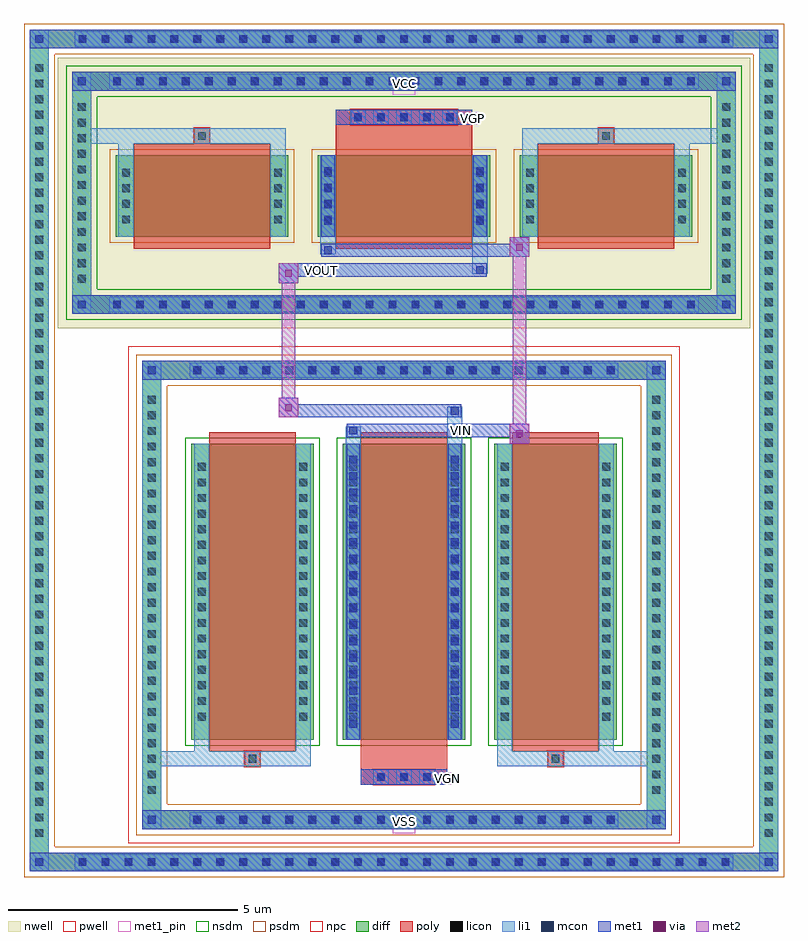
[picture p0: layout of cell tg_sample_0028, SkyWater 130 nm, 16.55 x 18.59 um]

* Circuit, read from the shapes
.subckt tg_sample_0028 VCC VGN VGP VIN VOUT VSS
XM1 VSS VSS VSS VSUBS sky130_fd_pr__nfet_01v8 w=6.44 l=1.88 m=2
XM2 VOUT VGN VIN VSUBS sky130_fd_pr__nfet_01v8 w=6.44 l=1.88
XM3 VCC VCC VCC n1 sky130_fd_pr__pfet_01v8 w=1.78 l=2.98 m=2
XM4 VOUT VGP VIN n1 sky130_fd_pr__pfet_01v8 w=1.78 l=2.98
.ends

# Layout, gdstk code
import gdstk
lib = gdstk.Library(unit=1e-6, precision=5e-09)
def R(c, l, rs):  # rectangles x0, y0, x1, y1
    for r in rs: c.add(gdstk.rectangle(r[:2], r[2:], *l))
def A(c, l, x, y, w, h, nx, ny, dx, dy):  # array of equal rectangles
    R(c, l, [(x+i*dx, y+j*dy, x+i*dx+w, y+j*dy+h) for i in range(nx) for j in range(ny)])
def P(c, l, *ps):  # polygons
    for p in ps: c.add(gdstk.Polygon(p, *l))
nwell = (64, 20)
pwell = (64, 44)
diff = (65, 20)
poly = (66, 20)
licon = (66, 44)
li1 = (67, 20)
mcon = (67, 44)
met1_pin = (68, 16)
met1 = (68, 20)
via = (68, 44)
met2 = (69, 20)
nsdm = (93, 44)
psdm = (94, 20)
npc = (95, 20)

tg_sample_0028 = lib.new_cell('tg_sample_0028')
R(tg_sample_0028, nwell, [(-7.535,5.81,7.535,11.7)])
R(tg_sample_0028, pwell, [(-6.01,-5.41,6.01,5.41)])
A(tg_sample_0028, diff, -7.205, -6.02, 0.41, 0.41, 29, 2, 0.5, 17.92)
A(tg_sample_0028, diff, -8.145, -5.39, 0.41, 0.41, 1, 50, 0, 0.34)
A(tg_sample_0028, diff, 7.735, -5.39, 0.41, 0.41, 1, 50, 0, 0.34)
A(tg_sample_0028, diff, -4.705, -5.1, 0.41, 0.41, 19, 2, 0.5, 9.79)
A(tg_sample_0028, diff, -5.7, -4.455, 0.41, 0.41, 1, 26, 0, 0.34)
A(tg_sample_0028, diff, 5.29, -4.455, 0.41, 0.41, 1, 26, 0, 0.34)
A(tg_sample_0028, diff, -4.63, -3.15, 2.66, 6.44, 3, 1, 3.3, 0)
A(tg_sample_0028, diff, -6.455, 6.12, 0.41, 0.41, 26, 2, 0.5, 4.86)
A(tg_sample_0028, diff, -7.225, 6.68, 0.41, 0.41, 1, 12, 0, 0.34)
A(tg_sample_0028, diff, 6.815, 6.68, 0.41, 0.41, 1, 12, 0, 0.34)
A(tg_sample_0028, diff, -6.28, 7.795, 3.76, 1.78, 3, 1, 4.4, 0)
R(tg_sample_0028, diff, [(-7.205,-6.02,7.205,-5.61), (-8.145,-5.39,-7.735,11.68), (7.735,-5.39,8.145,11.68), (-4.705,-5.1,4.705,-4.69), (-5.7,-4.455,-5.29,4.455), (5.29,-4.455,5.7,4.455), (-4.705,4.69,4.705,5.1), (-6.455,6.12,6.455,6.53), (-7.225,6.68,-6.815,10.83), (6.815,6.68,7.225,10.83), (-6.455,10.98,6.455,11.39), (-7.205,11.9,7.205,12.31)])
P(tg_sample_0028, diff, [(5.7,5.1),(-5.7,5.1),(-5.7,-4.69),(-5.29,-4.69),(-5.29,4.69),(5.29,4.69),(5.29,-4.69),(-5.29,-4.69),(-5.7,-4.69),(-5.7,-5.1),(5.7,-5.1)],
  [(8.145,12.31),(-8.145,12.31),(-8.145,-5.61),(-7.735,-5.61),(-7.735,11.9),(7.735,11.9),(7.735,-5.61),(-7.735,-5.61),(-8.145,-5.61),(-8.145,-6.02),(8.145,-6.02)],
  [(7.225,6.12),(-7.225,6.12),(-7.225,10.98),(-6.815,10.98),(-6.815,6.53),(6.815,6.53),(6.815,10.98),(-6.815,10.98),(-7.225,10.98),(-7.225,11.39),(7.225,11.39)])
A(tg_sample_0028, poly, -0.665, -4.13, 0.33, 0.33, 3, 1, 0.5, 0)
A(tg_sample_0028, poly, -4.24, -3.4, 1.88, 6.94, 3, 1, 3.3, 0)
A(tg_sample_0028, poly, -5.89, 7.54, 2.98, 2.29, 3, 1, 4.4, 0)
A(tg_sample_0028, poly, -1.165, 10.235, 0.33, 0.33, 5, 1, 0.5, 0)
R(tg_sample_0028, poly, [(-0.94,-4.13,0.94,-3.8), (-0.94,-3.8,0.94,-3.4), (-3.465,-3.73,-3.135,-3.4), (-3.465,-3.73,-3.135,-3.4), (3.135,-3.73,3.465,-3.4), (3.135,-3.73,3.465,-3.4), (-4.565,9.83,-4.235,10.16), (-4.565,9.83,-4.235,10.16), (-1.49,9.83,1.49,10.235), (4.235,9.83,4.565,10.16), (4.235,9.83,4.565,10.16), (-1.49,10.235,1.49,10.565)])
A(tg_sample_0028, licon, -7.085, -5.9, 0.17, 0.17, 29, 2, 0.5, 17.92)
A(tg_sample_0028, licon, -8.025, -5.27, 0.17, 0.17, 1, 50, 0, 0.34)
A(tg_sample_0028, licon, 7.855, -5.27, 0.17, 0.17, 1, 50, 0, 0.34)
A(tg_sample_0028, licon, -4.585, -4.98, 0.17, 0.17, 19, 2, 0.5, 9.79)
A(tg_sample_0028, licon, -5.58, -4.335, 0.17, 0.17, 1, 26, 0, 0.34)
A(tg_sample_0028, licon, 5.41, -4.335, 0.17, 0.17, 1, 26, 0, 0.34)
A(tg_sample_0028, licon, -0.585, -4.05, 0.17, 0.17, 3, 1, 0.5, 0)
A(tg_sample_0028, licon, -4.49, -2.735, 0.17, 0.17, 1, 17, 0, 0.34)
A(tg_sample_0028, licon, -2.28, -2.735, 0.17, 0.17, 1, 17, 0, 0.34)
A(tg_sample_0028, licon, -1.19, -2.735, 0.17, 0.17, 1, 17, 0, 0.34)
A(tg_sample_0028, licon, 1.02, -2.735, 0.17, 0.17, 1, 17, 0, 0.34)
A(tg_sample_0028, licon, 2.11, -2.735, 0.17, 0.17, 1, 17, 0, 0.34)
A(tg_sample_0028, licon, 4.32, -2.735, 0.17, 0.17, 1, 17, 0, 0.34)
A(tg_sample_0028, licon, -6.335, 6.24, 0.17, 0.17, 26, 2, 0.5, 4.86)
A(tg_sample_0028, licon, -7.105, 6.8, 0.17, 0.17, 1, 12, 0, 0.34)
A(tg_sample_0028, licon, 6.935, 6.8, 0.17, 0.17, 1, 12, 0, 0.34)
A(tg_sample_0028, licon, -6.14, 8.09, 0.17, 0.17, 1, 4, 0, 0.34)
A(tg_sample_0028, licon, -2.83, 8.09, 0.17, 0.17, 1, 4, 0, 0.34)
A(tg_sample_0028, licon, -1.74, 8.09, 0.17, 0.17, 1, 4, 0, 0.34)
A(tg_sample_0028, licon, 1.57, 8.09, 0.17, 0.17, 1, 4, 0, 0.34)
A(tg_sample_0028, licon, 2.66, 8.09, 0.17, 0.17, 1, 4, 0, 0.34)
A(tg_sample_0028, licon, 5.97, 8.09, 0.17, 0.17, 1, 4, 0, 0.34)
A(tg_sample_0028, licon, -1.085, 10.315, 0.17, 0.17, 5, 1, 0.5, 0)
R(tg_sample_0028, licon, [(-3.385,-3.65,-3.215,-3.48), (3.215,-3.65,3.385,-3.48), (-4.485,9.91,-4.315,10.08), (4.315,9.91,4.485,10.08)])
A(tg_sample_0028, li1, -7.165, -5.98, 0.33, 0.33, 29, 2, 0.5, 17.92)
A(tg_sample_0028, li1, -8.105, -5.35, 0.33, 0.33, 1, 50, 0, 0.34)
A(tg_sample_0028, li1, 7.775, -5.35, 0.33, 0.33, 1, 50, 0, 0.34)
A(tg_sample_0028, li1, -4.665, -5.06, 0.33, 0.33, 19, 2, 0.5, 9.79)
A(tg_sample_0028, li1, -5.66, -4.415, 0.33, 0.33, 1, 26, 0, 0.34)
A(tg_sample_0028, li1, 5.33, -4.415, 0.33, 0.33, 1, 26, 0, 0.34)
A(tg_sample_0028, li1, -0.665, -4.13, 0.33, 0.33, 3, 1, 0.5, 0)
A(tg_sample_0028, li1, -1.19, -2.895, 0.17, 0.17, 1, 17, 0, 0.36)
A(tg_sample_0028, li1, 1.02, -2.895, 0.17, 0.17, 1, 17, 0, 0.36)
A(tg_sample_0028, li1, -4.57, -2.815, 0.33, 0.33, 1, 17, 0, 0.34)
A(tg_sample_0028, li1, -2.36, -2.815, 0.33, 0.33, 1, 17, 0, 0.34)
A(tg_sample_0028, li1, -1.27, -2.815, 0.33, 0.33, 1, 17, 0, 0.34)
A(tg_sample_0028, li1, 0.94, -2.815, 0.33, 0.33, 1, 17, 0, 0.34)
A(tg_sample_0028, li1, 2.03, -2.815, 0.33, 0.33, 1, 17, 0, 0.34)
A(tg_sample_0028, li1, 4.24, -2.815, 0.33, 0.33, 1, 17, 0, 0.34)
A(tg_sample_0028, li1, -6.415, 6.16, 0.33, 0.33, 26, 2, 0.5, 4.86)
A(tg_sample_0028, li1, -7.185, 6.72, 0.33, 0.33, 1, 12, 0, 0.34)
A(tg_sample_0028, li1, 6.855, 6.72, 0.33, 0.33, 1, 12, 0, 0.34)
A(tg_sample_0028, li1, -6.22, 8.01, 0.33, 0.33, 1, 4, 0, 0.34)
A(tg_sample_0028, li1, -2.91, 8.01, 0.33, 0.33, 1, 4, 0, 0.34)
A(tg_sample_0028, li1, -1.82, 8.01, 0.33, 0.33, 1, 4, 0, 0.34)
A(tg_sample_0028, li1, 1.49, 8.01, 0.33, 0.33, 1, 4, 0, 0.34)
A(tg_sample_0028, li1, 2.58, 8.01, 0.33, 0.33, 1, 4, 0, 0.34)
A(tg_sample_0028, li1, 5.89, 8.01, 0.33, 0.33, 1, 4, 0, 0.34)
A(tg_sample_0028, li1, -1.74, 8.06, 0.17, 0.17, 1, 4, 0, 0.36)
A(tg_sample_0028, li1, 1.57, 8.06, 0.17, 0.17, 1, 4, 0, 0.36)
A(tg_sample_0028, li1, -1.165, 10.235, 0.33, 0.33, 5, 1, 0.5, 0)
R(tg_sample_0028, li1, [(-8.145,-6.02,-7.735,-5.61), (7.735,-6.02,8.145,-5.61), (-7.165,-5.98,7.165,-5.65), (-8.025,-5.9,-7.855,-5.73), (-8.025,-5.9,-7.855,-5.73), (7.855,-5.9,8.025,-5.73), (7.855,-5.9,8.025,-5.73), (-8.145,-5.61,-7.735,11.9), (7.735,-5.61,8.145,11.9), (-5.7,-5.1,-5.29,-4.69), (5.29,-5.1,5.7,-4.69), (-4.665,-5.06,4.665,-4.73), (-5.58,-4.98,-5.41,-4.81), (-5.58,-4.98,-5.41,-4.81), (5.41,-4.98,5.58,-4.81), (5.41,-4.98,5.58,-4.81), (-5.7,-4.69,-5.29,4.69), (5.29,-4.69,5.7,4.69), (-5.7,-3.73,-3.465,-3.4), (-4.57,-3.73,-3.465,-3.4), (-4.57,-3.73,-4.24,-3.15), (-3.465,-3.73,-3.135,-3.4), (-3.135,-3.73,-2.03,-3.4), (-2.36,-3.73,-2.03,-3.15), (2.03,-3.73,3.135,-3.4), (2.03,-3.73,2.36,-3.15), (3.135,-3.73,3.465,-3.4), (3.135,-3.73,5.7,-3.4), (3.465,-3.73,4.57,-3.4), (4.24,-3.73,4.57,-3.15), (-4.57,-3.15,-4.24,3.29), (-2.36,-3.15,-2.03,3.29), (-1.27,-3.15,-0.94,3.29), (0.94,-3.15,1.27,3.29), (2.03,-3.15,2.36,3.29), (4.24,-3.15,4.57,3.29), (-1.19,-2.895,-1.02,3.035), (1.02,-2.895,1.19,3.035), (-1.27,3.29,-0.94,3.665), (0.94,3.29,1.27,4.095), (-1.19,3.495,-1.02,3.665), (1.02,3.925,1.19,4.095), (-5.7,4.69,-5.29,5.1), (5.29,4.69,5.7,5.1), (-4.665,4.73,4.665,5.06), (-5.58,4.81,-5.41,4.98), (-5.58,4.81,-5.41,4.98), (5.41,4.81,5.58,4.98), (5.41,4.81,5.58,4.98), (-7.225,6.12,-6.815,6.53), (6.815,6.12,7.225,6.53), (-6.415,6.16,6.415,6.49), (-7.105,6.24,-6.935,6.41), (-7.105,6.24,-6.935,6.41), (6.935,6.24,7.105,6.41), (6.935,6.24,7.105,6.41), (-7.225,6.53,-6.815,10.98), (6.815,6.53,7.225,10.98), (1.49,6.99,1.82,7.795), (1.57,6.99,1.74,7.16), (-1.82,7.42,-1.49,7.795), (-1.74,7.42,-1.57,7.59), (-6.22,7.795,-5.89,9.575), (-2.91,7.795,-2.58,9.575), (-1.82,7.795,-1.49,9.575), (1.49,7.795,1.82,9.575), (2.58,7.795,2.91,9.575), (5.89,7.795,6.22,9.575), (-1.74,8.06,-1.57,9.31), (1.57,8.06,1.74,9.31), (-6.22,9.575,-5.89,10.16), (-2.91,9.575,-2.58,10.16), (2.58,9.575,2.91,10.16), (5.89,9.575,6.22,10.16), (-7.225,9.83,-4.565,10.16), (-6.22,9.83,-4.565,10.16), (-4.565,9.83,-4.235,10.16), (-4.235,9.83,-2.58,10.16), (2.58,9.83,4.235,10.16), (4.235,9.83,4.565,10.16), (4.235,9.83,7.225,10.16), (4.565,9.83,6.22,10.16), (-7.225,10.98,-6.815,11.39), (6.815,10.98,7.225,11.39), (-6.415,11.02,6.415,11.35), (-7.105,11.1,-6.935,11.27), (-7.105,11.1,-6.935,11.27), (6.935,11.1,7.105,11.27), (6.935,11.1,7.105,11.27), (-8.145,11.9,-7.735,12.31), (7.735,11.9,8.145,12.31), (-7.165,11.94,7.165,12.27), (-8.025,12.02,-7.855,12.19), (-8.025,12.02,-7.855,12.19), (7.855,12.02,8.025,12.19), (7.855,12.02,8.025,12.19)])
A(tg_sample_0028, mcon, -7.085, -5.9, 0.17, 0.17, 29, 2, 0.5, 17.92)
A(tg_sample_0028, mcon, -4.585, -4.98, 0.17, 0.17, 19, 2, 0.5, 9.79)
A(tg_sample_0028, mcon, -0.585, -4.05, 0.17, 0.17, 3, 1, 0.5, 0)
A(tg_sample_0028, mcon, -1.19, -2.895, 0.17, 0.17, 1, 17, 0, 0.36)
A(tg_sample_0028, mcon, 1.02, -2.895, 0.17, 0.17, 1, 17, 0, 0.36)
A(tg_sample_0028, mcon, -6.335, 6.24, 0.17, 0.17, 26, 2, 0.5, 4.86)
A(tg_sample_0028, mcon, -1.74, 8.06, 0.17, 0.17, 1, 4, 0, 0.36)
A(tg_sample_0028, mcon, 1.57, 8.06, 0.17, 0.17, 1, 4, 0, 0.36)
A(tg_sample_0028, mcon, -1.085, 10.315, 0.17, 0.17, 5, 1, 0.5, 0)
R(tg_sample_0028, mcon, [(-8.025,-5.9,-7.855,-5.73), (7.855,-5.9,8.025,-5.73), (-5.58,-4.98,-5.41,-4.81), (5.41,-4.98,5.58,-4.81), (-1.19,3.495,-1.02,3.665), (1.02,3.925,1.19,4.095), (-5.58,4.81,-5.41,4.98), (5.41,4.81,5.58,4.98), (-7.105,6.24,-6.935,6.41), (6.935,6.24,7.105,6.41), (1.57,6.99,1.74,7.16), (-1.74,7.42,-1.57,7.59), (-7.105,11.1,-6.935,11.27), (6.935,11.1,7.105,11.27), (-8.025,12.02,-7.855,12.19), (7.855,12.02,8.025,12.19)])
R(tg_sample_0028, met1_pin, [(-0.25,-5.19,0.25,-4.69), (0.805,-4.13,1.075,-3.86), (1.115,3.435,1.385,3.705), (-1.935,6.93,-1.665,7.2), (1.355,10.235,1.625,10.505), (-0.25,10.89,0.25,11.39)])
A(tg_sample_0028, met1, -7.145, -5.96, 0.29, 0.29, 29, 2, 0.5, 17.92)
A(tg_sample_0028, met1, -4.645, -5.04, 0.29, 0.29, 19, 2, 0.5, 9.79)
A(tg_sample_0028, met1, -0.645, -4.11, 0.29, 0.29, 3, 1, 0.5, 0)
A(tg_sample_0028, met1, -1.25, -2.955, 0.29, 0.29, 1, 17, 0, 0.36)
A(tg_sample_0028, met1, 0.96, -2.955, 0.29, 0.29, 1, 17, 0, 0.36)
A(tg_sample_0028, met1, -6.395, 6.18, 0.29, 0.29, 26, 2, 0.5, 4.86)
A(tg_sample_0028, met1, -1.8, 8, 0.29, 0.29, 1, 4, 0, 0.36)
A(tg_sample_0028, met1, 1.51, 8, 0.29, 0.29, 1, 4, 0, 0.36)
A(tg_sample_0028, met1, -1.145, 10.255, 0.29, 0.29, 5, 1, 0.5, 0)
R(tg_sample_0028, met1, [(-8.145,-6.02,-7.735,-5.61), (-8.145,-6.02,-7.735,-5.61), (-7.735,-6.02,7.735,-5.61), (7.735,-6.02,8.145,-5.61), (7.735,-6.02,8.145,-5.61), (-8.085,-5.96,-7.795,-5.67), (7.795,-5.96,8.085,-5.67), (-5.7,-5.1,-5.29,-4.69), (-5.7,-5.1,-5.29,-4.69), (-5.29,-5.1,5.29,-4.69), (5.29,-5.1,5.7,-4.69), (5.29,-5.1,5.7,-4.69), (-5.64,-5.04,-5.35,-4.75), (5.35,-5.04,5.64,-4.75), (-0.94,-4.13,0.94,-3.8), (-1.25,-3.15,-0.96,3.29), (0.96,-3.15,1.25,3.29), (2.3,3.295,2.73,3.725), (-1.25,3.435,-0.96,3.725), (-1.25,3.435,1.25,3.725), (1.25,3.435,2.73,3.725), (-2.73,3.865,-1.25,4.155), (-2.73,3.865,-2.3,4.295), (-1.25,3.865,1.25,4.155), (0.96,3.865,1.25,4.155), (-5.7,4.69,-5.29,5.1), (-5.7,4.69,-5.29,5.1), (-5.29,4.69,5.29,5.1), (5.29,4.69,5.7,5.1), (5.29,4.69,5.7,5.1), (-5.64,4.75,-5.35,5.04), (5.35,4.75,5.64,5.04), (-7.225,6.12,-6.815,6.53), (-7.225,6.12,-6.815,6.53), (-6.815,6.12,6.815,6.53), (6.815,6.12,7.225,6.53), (6.815,6.12,7.225,6.53), (-7.165,6.18,-6.875,6.47), (6.875,6.18,7.165,6.47), (-2.73,6.79,-2.3,7.22), (-2.73,6.93,-1.8,7.22), (-1.8,6.93,1.8,7.22), (1.51,6.93,1.8,7.22), (-1.8,7.36,-1.51,7.65), (-1.8,7.36,1.8,7.65), (1.8,7.36,2.73,7.65), (2.3,7.36,2.73,7.79), (-1.8,7.795,-1.51,9.575), (1.51,7.795,1.8,9.575), (-1.49,10.235,1.49,10.565), (-7.225,10.98,-6.815,11.39), (-7.225,10.98,-6.815,11.39), (-6.815,10.98,6.815,11.39), (6.815,10.98,7.225,11.39), (6.815,10.98,7.225,11.39), (-7.165,11.04,-6.875,11.33), (6.875,11.04,7.165,11.33), (-8.145,11.9,-7.735,12.31), (-8.145,11.9,-7.735,12.31), (-7.735,11.9,7.735,12.31), (7.735,11.9,8.145,12.31), (7.735,11.9,8.145,12.31), (-8.085,11.96,-7.795,12.25), (7.795,11.96,8.085,12.25)])
R(tg_sample_0028, via, [(2.44,3.435,2.59,3.585), (-2.59,4.005,-2.44,4.155), (-2.59,6.93,-2.44,7.08), (2.44,7.5,2.59,7.65)])
R(tg_sample_0028, met2, [(2.3,3.295,2.73,3.725), (2.37,3.295,2.66,7.79), (2.66,3.295,2.73,3.725), (2.35,3.345,2.68,3.675), (-2.73,3.865,-2.3,4.295), (-2.66,3.865,-2.37,7.22), (-2.37,3.865,-2.3,4.295), (-2.68,3.915,-2.35,4.245), (-2.73,6.79,-2.3,7.22), (-2.37,6.79,-2.3,7.22), (-2.68,6.84,-2.35,7.17), (2.3,7.36,2.73,7.79), (2.66,7.36,2.73,7.79), (2.35,7.41,2.68,7.74)])
A(tg_sample_0028, nsdm, -4.76, -3.28, 2.92, 6.7, 3, 1, 3.3, 0)
P(tg_sample_0028, nsdm, [(7.355,5.99),(-7.355,5.99),(-7.355,10.85),(-6.685,10.85),(-6.685,6.66),(6.685,6.66),(6.685,10.85),(-6.685,10.85),(-7.355,10.85),(-7.355,11.52),(7.355,11.52)])
A(tg_sample_0028, psdm, -6.41, 7.665, 4.02, 2.04, 3, 1, 4.4, 0)
P(tg_sample_0028, psdm, [(5.83,5.23),(-5.83,5.23),(-5.83,-4.56),(-5.16,-4.56),(-5.16,4.56),(5.16,4.56),(5.16,-4.56),(-5.16,-4.56),(-5.83,-4.56),(-5.83,-5.23),(5.83,-5.23)],
  [(8.275,12.44),(-8.275,12.44),(-8.275,-5.48),(-7.605,-5.48),(-7.605,11.77),(7.605,11.77),(7.605,-5.48),(-7.605,-5.48),(-8.275,-5.48),(-8.275,-6.15),(8.275,-6.15)])
A(tg_sample_0028, npc, -0.685, -4.15, 0.37, 0.37, 3, 1, 0.5, 0)
A(tg_sample_0028, npc, -1.185, 10.215, 0.37, 0.37, 5, 1, 0.5, 0)
R(tg_sample_0028, npc, [(-0.685,-4.15,0.185,-3.78), (-0.685,-4.15,0.185,-3.78), (-0.185,-4.15,0.685,-3.78), (-0.185,-4.15,0.685,-3.78), (-3.485,-3.75,-3.115,-3.38), (3.115,-3.75,3.485,-3.38), (-4.585,9.81,-4.215,10.18), (4.215,9.81,4.585,10.18), (-1.185,10.215,-0.315,10.585), (-1.185,10.215,-0.315,10.585), (-0.685,10.215,0.185,10.585), (-0.685,10.215,0.185,10.585), (-0.185,10.215,0.685,10.585), (-0.185,10.215,0.685,10.585), (0.315,10.215,1.185,10.585), (0.315,10.215,1.185,10.585)])
tg_sample_0028.add(gdstk.Label('VIN', (1.25,3.57), layer=68, texttype=5))
tg_sample_0028.add(gdstk.Label('VGN', (0.94,-3.995), layer=68, texttype=5))
tg_sample_0028.add(gdstk.Label('VGP', (1.49,10.37), layer=68, texttype=5))
tg_sample_0028.add(gdstk.Label('VSS', (0,-4.94), layer=68, texttype=5))
tg_sample_0028.add(gdstk.Label('VCC', (0,11.14), layer=68, texttype=5))
tg_sample_0028.add(gdstk.Label('VOUT', (-1.8,7.065), layer=68, texttype=5))

lib.write_gds('tg_sample_0028.gds')
